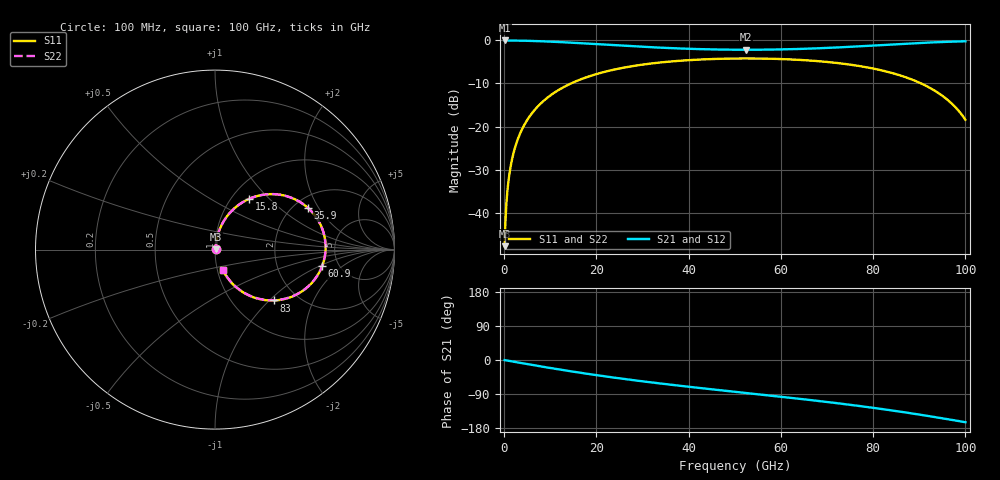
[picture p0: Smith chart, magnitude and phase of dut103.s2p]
! Touchstone file exported from HFSS 2026.1.0
!  File:  C:/ffzhzh/LocalFiles/Ansys_Project_Files/temp_train_RDL_103_1783499172_9504.aedt
!  Generated:  04:27:29 PM Jul  8, 2026
!  Design:  RDL
!  Project:  temp_train_RDL_103_1783499172_9504
! Variables:
!  h_bsmrdl = 2um
!  h_ox = 20um
!  h_rdl = 5um
!  h_sub = 80um
!  h_tmrdl = 2.74um
!  h_tsv = 80um
!  h_via = 3um
!  l_bsmrdl = 300um
!  l_sub = 934.03um
!  l_tmrdl = 534.03um
!  m_sub = 200um
!  pitch = 59.71um
!  r_tsv = 6um
!  s_tmrdl = 10um
!  w_bsmrdl = 18um
!  w_sub = 500um
!  w_tmrdl = 23.58um
!  x_tsv_center1 = 545.82um
!  x_tsv_center2 = 863.82um
!  x_tsv_center3 = 1421.43um
!  x_tsv_center4 = 1739.43um
!  x_tsv_center5 = 2297.04um
!  x_tsv_center6 = 2615.04um
# GHz S MA R 50.000000
! Terminal data exported
! Port[1] = TM_RDL1_1_T1
! Port[2] = TM_RDL1_1_T2
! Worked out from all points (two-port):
!   1000 points, 100 MHz to 100 GHz, reference 50 ohm
!   highest |S21| = -0.03 dB at 100 MHz (marker M1); lowest = -2.2 dB at 52.5 GHz (marker M2)
!   |S21| within 3 dB of the highest: start of sweep to end of sweep
!   lowest |S11| = -47.7 dB at 100 MHz (marker M3), VSWR 1.01, Z = 50.3 + j0.264 ohm
!   |S11| at or under -10 dB: start of sweep to 14.48 GHz; 90.42 GHz to end of sweep
!   |S22| runs from -47.7 to -4.2 dB; largest |S21 - S12| = 1.7e-14
!   S11 on the Smith chart (normalised r, x): 100 MHz: 1.01, +0.01; 15.8 GHz: 1.20, +0.77; 35.9 GHz: 2.37, +1.62; 60.9 GHz: 3.74, -1.06; 83 GHz: 1.53, -1.07; 100 GHz: 1.06, -0.24
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0.1  0.004119 39.5  0.9968 -0.2  0.9968 -0.2  0.004119 39.5
! Gamma 0 0 0 0
! Port Impedance 50 0 50 0
0.8  0.0202 77.0  0.9959 -1.8  0.9959 -1.8  0.0202 77.0
1.4  0.0344 80.0  0.9953 -3.0  0.9953 -3.0  0.0344 80.0
2.4  0.05822 80.5  0.9939 -5.2  0.9939 -5.2  0.05822 80.5
3.9  0.09371 78.7  0.9908 -8.4  0.9908 -8.4  0.09371 78.7
5.9  0.14 75.1  0.9847 -12.6  0.9847 -12.6  0.14 75.1
8.5  0.1977 70.1  0.9738 -18.0  0.9738 -18.0  0.1977 70.1
15.8  0.3396 56.2  0.9318 -32.3  0.9318 -32.3  0.3396 56.2
16.8  0.3565 54.4  0.9254 -34.2  0.9254 -34.2  0.3565 54.4
24.5  0.466 41.2  0.8749 -47.6  0.8749 -47.6  0.466 41.3
33.4  0.5507 27.7  0.8248 -61.3  0.8248 -61.3  0.5506 27.8
35.9  0.5675 24.2  0.8135 -64.9  0.8135 -64.9  0.5674 24.2
50.1  0.6156 5.4  0.7786 -84.0  0.7786 -84.0  0.6155 5.4
52.5  0.6166 2.3  0.7778 -87.1  0.7778 -87.1  0.6165 2.4
60.9  0.6046 -8.6  0.7869 -98.1  0.7869 -98.1  0.6045 -8.5
66.7  0.5812 -16.3  0.8036 -106.1  0.8036 -106.1  0.5811 -16.2
75.6  0.5175 -29.1  0.8444 -119.1  0.8444 -119.1  0.5173 -29.0
83  0.4334 -40.8  0.8882 -131.3  0.8882 -131.3  0.4332 -40.7
83.4  0.4279 -41.5  0.8907 -132.0  0.8907 -132.0  0.4278 -41.3
93.3  0.262 -58.8  0.9491 -150.4  0.9491 -150.4  0.2618 -58.6
96.8  0.1902 -64.8  0.9647 -157.5  0.9647 -157.5  0.19 -64.5
100  0.1202 -69.3  0.9747 -164.1  0.9747 -164.1  0.12 -68.9
